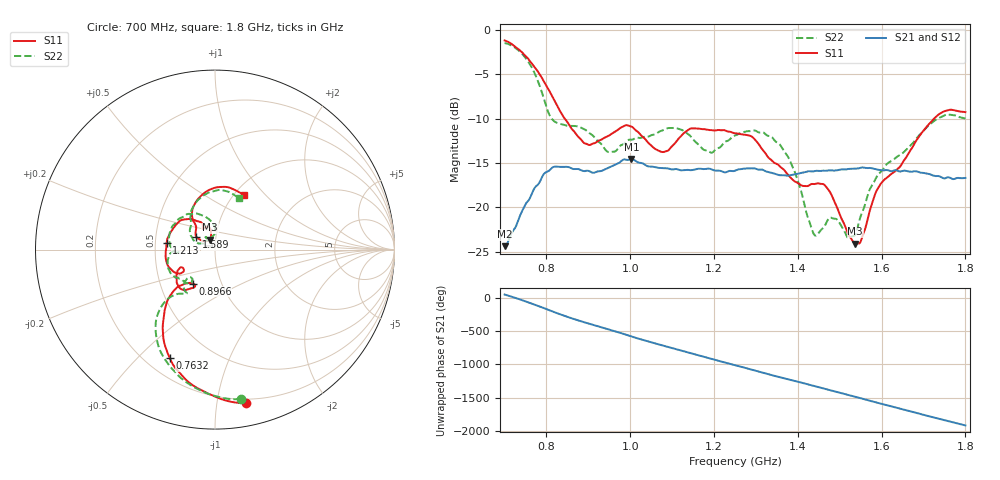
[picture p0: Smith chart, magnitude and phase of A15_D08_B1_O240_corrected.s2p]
! Created with skrf 1.9.0 (http://scikit-rf.org).
# Hz S RI R 50.0
!freq ReS11 ImS11 ReS21 ImS21 ReS12 ImS12 ReS22 ImS22
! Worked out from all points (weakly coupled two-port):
!   1601 points, 700 MHz to 1.8 GHz, reference 50 ohm
!   highest |S21| = -14.56 dB at 1.002 GHz (marker M1); lowest = -24.4 dB at 700.7 MHz (marker M2)
!   lowest |S11| = -24.1 dB at 1.537 GHz (marker M3), VSWR 1.13, Z = 47 + j5.26 ohm
!   |S11| at or under -10 dB: 843.6 MHz to 1.725 GHz (881.6 MHz wide, 68.6 % of centre)
!   |S22| runs from -23.5 to -1.5 dB; largest |S21 - S12| = 0.0036
!   S11 on the Smith chart (normalised r, x): 700 MHz: 0.17, -1.21; 763.2 MHz: 0.30, -0.62; 896.6 MHz: 0.73, -0.29; 1.213 GHz: 0.57, +0.04; 1.589 GHz: 0.81, +0.12; 1.8 GHz: 1.11, +0.76
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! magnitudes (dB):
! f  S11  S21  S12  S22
! 700 MHz  -1.2  -24.4  -24.2  -1.5
! 700.7 MHz  -1.2  -24.4  -24.1  -1.5
! 763.2 MHz  -3.7  -18.7  -18.7  -4.1
! 814.1 MHz  -7.5  -15.5  -15.6  -10.1
! 883.6 MHz  -12.4  -15.8  -15.7  -11.0
! 896.6 MHz  -12.9  -15.9  -16.0  -11.4
! 948.9 MHz  -11.9  -15.5  -15.5  -13.8
! 1.002 GHz  -10.9  -14.6  -14.7  -12.4
! 1.067 GHz  -13.6  -15.5  -15.5  -11.5
! 1.144 GHz  -11.1  -15.8  -15.8  -12.0
! 1.213 GHz  -11.3  -15.9  -15.9  -13.3
! 1.25 GHz  -11.6  -15.9  -15.8  -11.9
! 1.358 GHz  -15.4  -16.4  -16.3  -13.0
! 1.393 GHz  -17.1  -16.3  -16.3  -16.0
! 1.434 GHz  -17.4  -16.0  -15.9  -22.5
! 1.471 GHz  -17.9  -15.9  -15.9  -21.4
! 1.537 GHz  -24.1  -15.6  -15.6  -23.1
! 1.552 GHz  -23.5  -15.5  -15.6  -20.7
! 1.589 GHz  -18.1  -15.7  -15.7  -16.5
! 1.617 GHz  -16.5  -15.9  -15.8  -14.9
! 1.733 GHz  -9.6  -16.5  -16.5  -10.0
! 1.8 GHz  -9.3  -16.7  -16.7  -10.0
